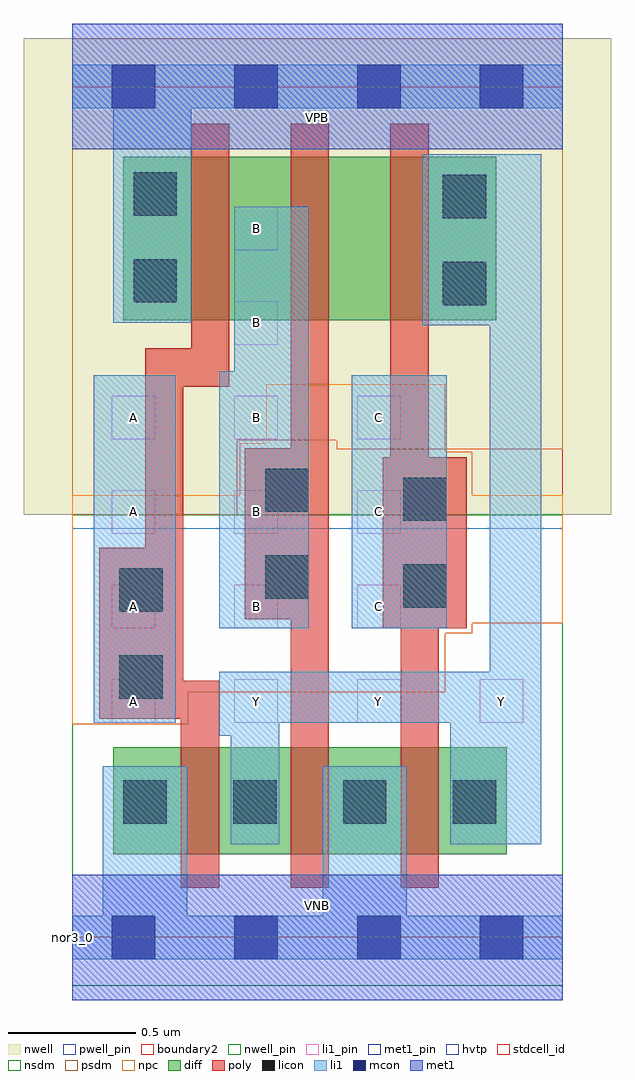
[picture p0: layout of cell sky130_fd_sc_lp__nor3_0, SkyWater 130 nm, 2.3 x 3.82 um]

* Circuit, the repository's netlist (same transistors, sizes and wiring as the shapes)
* Copyright 2020 The SkyWater PDK Authors
*
* Licensed under the Apache License, Version 2.0 (the "License");
* you may not use this file except in compliance with the License.
* You may obtain a copy of the License at
*
*     https://www.apache.org/licenses/LICENSE-2.0
*
* Unless required by applicable law or agreed to in writing, software
* distributed under the License is distributed on an "AS IS" BASIS,
* WITHOUT WARRANTIES OR CONDITIONS OF ANY KIND, either express or implied.
* See the License for the specific language governing permissions and
* limitations under the License.
*
* SPDX-License-Identifier: Apache-2.0

.SUBCKT sky130_fd_sc_lp__nor3_0 A B C VGND VNB VPB VPWR Y
*.PININFO A:I B:I C:I VGND:I VNB:I VPB:I VPWR:I Y:O
MMP0 VPWR A sndPA VPB sky130_fd_pr__pfet_01v8_hvt m=1 w=0.64U l=0.15U mult=1 sa=0.265
+ sb=0.265 sd=0.28 area=0.063 perim=1.14
MMP1 sndPA B sndPB VPB sky130_fd_pr__pfet_01v8_hvt m=1 w=0.64U l=0.15U mult=1 sa=0.265
+ sb=0.265 sd=0.28 area=0.063 perim=1.14
MMP2 sndPB C Y VPB sky130_fd_pr__pfet_01v8_hvt m=1 w=0.64U l=0.15U mult=1 sa=0.265
+ sb=0.265 sd=0.28 area=0.063 perim=1.14
MMN0 Y A VGND VNB sky130_fd_pr__nfet_01v8 m=1 w=0.42U l=0.15U mult=1 sa=0.265 sb=0.265
+ sd=0.28 area=0.063 perim=1.14
MMN1 Y B VGND VNB sky130_fd_pr__nfet_01v8 m=1 w=0.42U l=0.15U mult=1 sa=0.265 sb=0.265
+ sd=0.28 area=0.063 perim=1.14
MMN2 Y C VGND VNB sky130_fd_pr__nfet_01v8 m=1 w=0.42U l=0.15U mult=1 sa=0.265 sb=0.265
+ sd=0.28 area=0.063 perim=1.14
.ENDS sky130_fd_sc_lp__nor3_0

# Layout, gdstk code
import gdstk
lib = gdstk.Library(unit=1e-6, precision=1e-09)
def R(c, l, rs):  # rectangles x0, y0, x1, y1
    for r in rs: c.add(gdstk.rectangle(r[:2], r[2:], *l))
def A(c, l, x, y, w, h, nx, ny, dx, dy):  # array of equal rectangles
    R(c, l, [(x+i*dx, y+j*dy, x+i*dx+w, y+j*dy+h) for i in range(nx) for j in range(ny)])
def P(c, l, *ps):  # polygons
    for p in ps: c.add(gdstk.Polygon(p, *l))
nwell_pin = (64, 16)
nwell = (64, 20)
diff = (65, 20)
poly = (66, 20)
licon = (66, 44)
li1_pin = (67, 16)
li1 = (67, 20)
mcon = (67, 44)
met1_pin = (68, 16)
met1 = (68, 20)
hvtp = (78, 44)
stdcell_id = (81, 4)
nsdm = (93, 44)
psdm = (94, 20)
npc = (95, 20)
pwell_pin = (122, 16)
boundary2 = (236, 0)

sky130_fd_sc_lp__nor3_0 = lib.new_cell('sky130_fd_sc_lp__nor3_0')
R(sky130_fd_sc_lp__nor3_0, nwell_pin, [(0,3.085,1.92,3.33)])
R(sky130_fd_sc_lp__nor3_0, nwell, [(-0.19,1.655,2.11,3.52)])
R(sky130_fd_sc_lp__nor3_0, diff, [(0.16,0.325,1.7,0.745), (0.2,2.415,1.66,3.055)])
P(sky130_fd_sc_lp__nor3_0, poly, [(0.615,3.185),(0.465,3.185),(0.465,2.305),(0.285,2.305),(0.285,1.525),(0.105,1.525),(0.105,0.855),(0.425,0.855),(0.425,0.195),(0.575,0.195),(0.575,1.005),(0.435,1.005),(0.435,2.155),(0.615,2.155)],
  [(1.005,3.185),(0.855,3.185),(0.855,1.915),(0.675,1.915),(0.675,1.245),(0.855,1.245),(0.855,0.195),(1.005,0.195)],
  [(1.545,1.88),(1.395,1.88),(1.395,3.185),(1.245,3.185),(1.245,1.88),(1.215,1.88),(1.215,1.21),(1.285,1.21),(1.285,0.195),(1.435,0.195),(1.435,1.21),(1.545,1.21)])
A(sky130_fd_sc_lp__nor3_0, licon, 0.2, 0.445, 0.17, 0.17, 4, 1, 0.43, 0)
R(sky130_fd_sc_lp__nor3_0, licon, [(0.185,0.935,0.355,1.105), (0.185,1.275,0.355,1.445), (1.295,1.29,1.465,1.46), (0.755,1.325,0.925,1.495), (1.295,1.63,1.465,1.8), (0.755,1.665,0.925,1.835), (1.45,2.475,1.62,2.645), (0.24,2.485,0.41,2.655), (1.45,2.815,1.62,2.985), (0.24,2.825,0.41,2.995)])
A(sky130_fd_sc_lp__nor3_0, li1_pin, 0.155, 0.84, 0.17, 0.17, 4, 1, 0.48, 0)
A(sky130_fd_sc_lp__nor3_0, li1_pin, 0.155, 1.21, 0.17, 0.17, 3, 3, 0.48, 0.37)
R(sky130_fd_sc_lp__nor3_0, li1_pin, [(0.635,2.32,0.805,2.49), (0.635,2.69,0.805,2.86)])
R(sky130_fd_sc_lp__nor3_0, li1, [(0.085,0.84,0.405,2.2), (1.095,1.21,1.465,2.2)])
P(sky130_fd_sc_lp__nor3_0, li1, [(0.16,2.405),(0.16,3.245),(0,3.245),(0,3.415),(1.92,3.415),(1.92,3.245),(0.465,3.245),(0.465,2.405)],
  [(0.12,0.085),(0.12,0.67),(0.45,0.67),(0.45,0.085),(0.98,0.085),(0.98,0.67),(1.31,0.67),(1.31,0.085),(1.92,0.085),(1.92,-0.085),(0,-0.085),(0,0.085)],
  [(0.925,2.86),(0.635,2.86),(0.635,2.215),(0.575,2.215),(0.575,1.21),(0.925,1.21)],
  [(1.835,3.065),(1.37,3.065),(1.37,2.395),(1.635,2.395),(1.635,1.04),(0.575,1.04),(0.575,0.79),(0.62,0.79),(0.62,0.365),(0.81,0.365),(0.81,0.84),(1.48,0.84),(1.48,0.365),(1.835,0.365)])
A(sky130_fd_sc_lp__nor3_0, mcon, 0.155, -0.085, 0.17, 0.17, 4, 2, 0.48, 3.33)
R(sky130_fd_sc_lp__nor3_0, met1_pin, [(0,0,1.92,0.245), (0,3.085,1.92,3.33)])
R(sky130_fd_sc_lp__nor3_0, met1, [(0,-0.245,1.92,0.245), (0,3.085,1.92,3.575)])
R(sky130_fd_sc_lp__nor3_0, hvtp, [(0,1.6,1.92,3.33)])
R(sky130_fd_sc_lp__nor3_0, stdcell_id, [(0,0,1.92,3.33)])
R(sky130_fd_sc_lp__nor3_0, nsdm, [(0,-0.19,1.92,1.655)])
P(sky130_fd_sc_lp__nor3_0, psdm, [(1.92,3.52),(0,3.52),(0,1.655),(0.645,1.655),(0.645,1.945),(1.035,1.945),(1.035,1.91),(1.92,1.91)])
P(sky130_fd_sc_lp__nor3_0, npc, [(1.92,1.73),(1.565,1.73),(1.565,1.9),(1.46,1.9),(1.46,2.165),(0.76,2.165),(0.76,1.935),(0.655,1.935),(0.655,1.73),(0,1.73),(0,0.835),(0.455,0.835),(0.455,0.96),(1.46,0.96),(1.46,1.19),(1.565,1.19),(1.565,1.23),(1.92,1.23)])
R(sky130_fd_sc_lp__nor3_0, pwell_pin, [(0,0,1.92,0.245)])
R(sky130_fd_sc_lp__nor3_0, boundary2, [(0,0,1.92,3.33)])
sky130_fd_sc_lp__nor3_0.add(gdstk.Label('VNB', (0.96,0.123), layer=64, texttype=59))
sky130_fd_sc_lp__nor3_0.add(gdstk.Label('VPB', (0.96,3.208), layer=64, texttype=5))
sky130_fd_sc_lp__nor3_0.add(gdstk.Label('nor3_0', (0,0), layer=83, texttype=44))
sky130_fd_sc_lp__nor3_0.add(gdstk.Label('VPWR', (0.96,3.208), layer=68, texttype=5))
sky130_fd_sc_lp__nor3_0.add(gdstk.Label('VGND', (0.96,0.123), layer=68, texttype=5))
sky130_fd_sc_lp__nor3_0.add(gdstk.Label('A', (0.24,0.925), layer=67, texttype=5))
sky130_fd_sc_lp__nor3_0.add(gdstk.Label('A', (0.24,1.295), layer=67, texttype=5))
sky130_fd_sc_lp__nor3_0.add(gdstk.Label('A', (0.24,1.665), layer=67, texttype=5))
sky130_fd_sc_lp__nor3_0.add(gdstk.Label('A', (0.24,2.035), layer=67, texttype=5))
sky130_fd_sc_lp__nor3_0.add(gdstk.Label('B', (0.72,1.295), layer=67, texttype=5))
sky130_fd_sc_lp__nor3_0.add(gdstk.Label('B', (0.72,1.665), layer=67, texttype=5))
sky130_fd_sc_lp__nor3_0.add(gdstk.Label('B', (0.72,2.035), layer=67, texttype=5))
sky130_fd_sc_lp__nor3_0.add(gdstk.Label('B', (0.72,2.405), layer=67, texttype=5))
sky130_fd_sc_lp__nor3_0.add(gdstk.Label('B', (0.72,2.775), layer=67, texttype=5))
sky130_fd_sc_lp__nor3_0.add(gdstk.Label('C', (1.2,1.295), layer=67, texttype=5))
sky130_fd_sc_lp__nor3_0.add(gdstk.Label('C', (1.2,1.665), layer=67, texttype=5))
sky130_fd_sc_lp__nor3_0.add(gdstk.Label('C', (1.2,2.035), layer=67, texttype=5))
sky130_fd_sc_lp__nor3_0.add(gdstk.Label('Y', (0.72,0.925), layer=67, texttype=5))
sky130_fd_sc_lp__nor3_0.add(gdstk.Label('Y', (1.68,0.925), layer=67, texttype=5))
sky130_fd_sc_lp__nor3_0.add(gdstk.Label('Y', (1.2,0.925), layer=67, texttype=5))

lib.write_gds('sky130_fd_sc_lp__nor3_0.gds')
